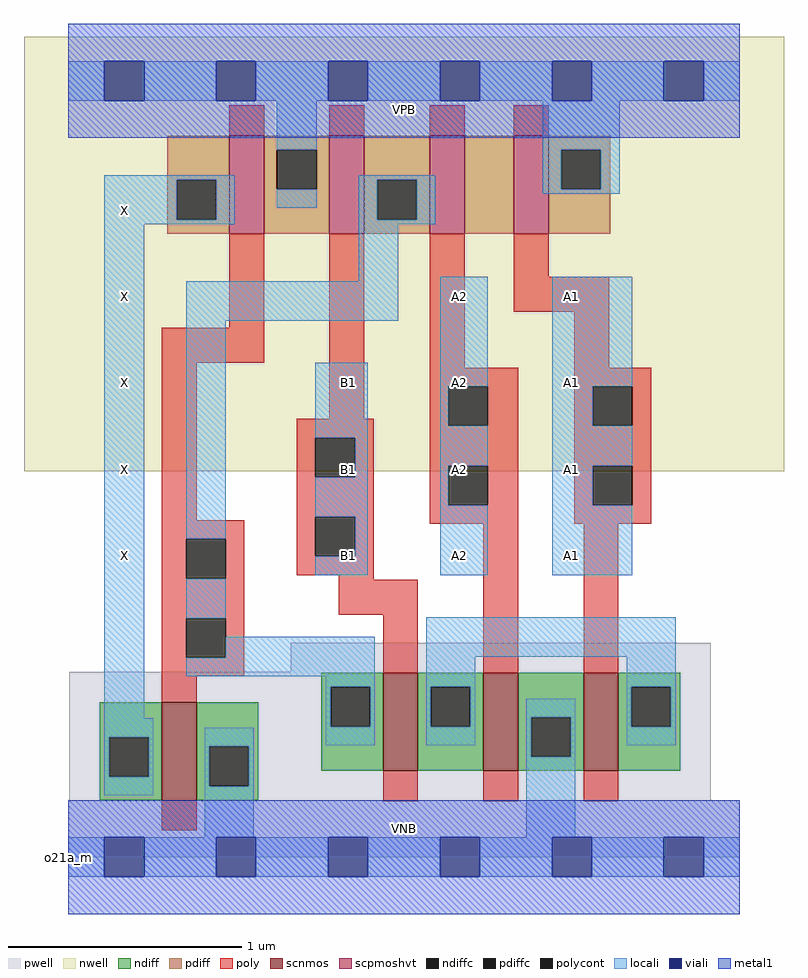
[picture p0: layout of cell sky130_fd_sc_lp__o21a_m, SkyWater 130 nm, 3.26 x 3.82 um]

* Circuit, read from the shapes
.subckt sky130_fd_sc_lp__o21a_m A1 A2 B1 VGND VNB VPB VPWR X
XM1 VGND n1 X VNB sky130_fd_pr__nfet_01v8 w=0.42 l=0.15
XM2 n2 B1 n1 VNB sky130_fd_pr__nfet_01v8 w=0.42 l=0.15
XM3 VGND A2 n2 VNB sky130_fd_pr__nfet_01v8 w=0.42 l=0.15
XM4 n2 A1 VGND VNB sky130_fd_pr__nfet_01v8 w=0.42 l=0.15
XM5 VPWR n1 X VPB sky130_fd_pr__pfet_01v8_hvt w=0.42 l=0.15
XM6 n1 B1 VPWR VPB sky130_fd_pr__pfet_01v8_hvt w=0.42 l=0.15
XM7 n3 A2 n1 VPB sky130_fd_pr__pfet_01v8_hvt w=0.42 l=0.15
XM8 VPWR A1 n3 VPB sky130_fd_pr__pfet_01v8_hvt w=0.42 l=0.15
.ends

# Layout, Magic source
magic
tech sky130A
magscale 1 2
<< nwell >>
rect -38 331 614 704
<< pwell >>
rect 191 159 551 184
rect 1 49 551 159
rect 0 0 576 49
<< scnmos >>
rect 80 49 110 133
rect 270 74 300 158
rect 356 74 386 158
rect 442 74 472 158
<< scpmoshvt >>
rect 138 535 168 619
rect 224 535 254 619
rect 310 535 340 619
rect 382 535 412 619
<< ndiff >>
rect 217 146 270 158
rect 27 103 80 133
rect 27 69 35 103
rect 69 69 80 103
rect 27 49 80 69
rect 110 95 163 133
rect 110 61 121 95
rect 155 61 163 95
rect 217 112 225 146
rect 259 112 270 146
rect 217 74 270 112
rect 300 146 356 158
rect 300 112 311 146
rect 345 112 356 146
rect 300 74 356 112
rect 386 120 442 158
rect 386 86 397 120
rect 431 86 442 120
rect 386 74 442 86
rect 472 146 525 158
rect 472 112 483 146
rect 517 112 525 146
rect 472 74 525 112
rect 110 49 163 61
<< pdiff >>
rect 85 581 138 619
rect 85 547 93 581
rect 127 547 138 581
rect 85 535 138 547
rect 168 607 224 619
rect 168 573 179 607
rect 213 573 224 607
rect 168 535 224 573
rect 254 581 310 619
rect 254 547 265 581
rect 299 547 310 581
rect 254 535 310 547
rect 340 535 382 619
rect 412 607 465 619
rect 412 573 423 607
rect 457 573 465 607
rect 412 535 465 573
<< ndiffc >>
rect 35 69 69 103
rect 121 61 155 95
rect 225 112 259 146
rect 311 112 345 146
rect 397 86 431 120
rect 483 112 517 146
<< pdiffc >>
rect 93 547 127 581
rect 179 573 213 607
rect 265 547 299 581
rect 423 573 457 607
<< poly >>
rect 138 619 168 645
rect 224 619 254 645
rect 310 619 340 645
rect 382 619 412 645
rect 138 454 168 535
rect 80 424 168 454
rect 80 289 110 424
rect 224 376 254 535
rect 310 420 340 535
rect 382 498 412 535
rect 382 468 464 498
rect 434 420 464 468
rect 310 404 386 420
rect 196 360 262 376
rect 196 326 212 360
rect 246 326 262 360
rect 196 292 262 326
rect 80 273 151 289
rect 80 239 101 273
rect 135 239 151 273
rect 196 258 212 292
rect 246 258 262 292
rect 310 370 326 404
rect 360 370 386 404
rect 310 336 386 370
rect 310 302 326 336
rect 360 302 386 336
rect 310 286 386 302
rect 434 404 500 420
rect 434 370 450 404
rect 484 370 500 404
rect 434 336 500 370
rect 434 302 450 336
rect 484 302 500 336
rect 434 286 500 302
rect 196 242 262 258
rect 80 205 151 239
rect 232 238 262 242
rect 232 208 300 238
rect 80 171 101 205
rect 135 171 151 205
rect 80 155 151 171
rect 270 158 300 208
rect 356 158 386 286
rect 442 158 472 286
rect 80 133 110 155
rect 80 23 110 49
rect 270 48 300 74
rect 356 48 386 74
rect 442 48 472 74
<< polycont >>
rect 212 326 246 360
rect 101 239 135 273
rect 212 258 246 292
rect 326 370 360 404
rect 326 302 360 336
rect 450 370 484 404
rect 450 302 484 336
rect 101 171 135 205
<< locali >>
rect 0 649 31 683
rect 65 649 127 683
rect 161 649 223 683
rect 257 649 319 683
rect 353 649 415 683
rect 449 649 511 683
rect 545 649 576 683
rect 179 607 213 649
rect 31 581 143 585
rect 31 547 93 581
rect 127 547 143 581
rect 407 607 473 649
rect 179 557 213 573
rect 249 581 315 585
rect 31 543 143 547
rect 249 547 265 581
rect 299 547 315 581
rect 407 573 423 607
rect 457 573 473 607
rect 407 569 473 573
rect 249 543 315 547
rect 31 119 65 543
rect 249 494 283 543
rect 101 460 283 494
rect 101 273 135 460
rect 212 360 257 424
rect 246 326 257 360
rect 212 292 257 326
rect 246 258 257 292
rect 212 242 257 258
rect 319 404 360 498
rect 319 370 326 404
rect 319 336 360 370
rect 319 302 326 336
rect 319 242 360 302
rect 415 404 484 498
rect 415 370 450 404
rect 415 336 484 370
rect 415 302 450 336
rect 415 242 484 302
rect 101 205 135 239
rect 135 171 263 189
rect 101 155 263 171
rect 221 146 263 155
rect 31 103 73 119
rect 221 112 225 146
rect 259 112 263 146
rect 31 69 35 103
rect 69 69 73 103
rect 31 53 73 69
rect 117 95 159 111
rect 221 96 263 112
rect 307 172 521 206
rect 307 146 349 172
rect 307 112 311 146
rect 345 112 349 146
rect 479 146 521 172
rect 307 96 349 112
rect 393 120 435 136
rect 117 61 121 95
rect 155 61 159 95
rect 117 17 159 61
rect 393 86 397 120
rect 431 86 435 120
rect 479 112 483 146
rect 517 112 521 146
rect 479 96 521 112
rect 393 17 435 86
rect 0 -17 31 17
rect 65 -17 127 17
rect 161 -17 223 17
rect 257 -17 319 17
rect 353 -17 415 17
rect 449 -17 511 17
rect 545 -17 576 17
<< viali >>
rect 31 649 65 683
rect 127 649 161 683
rect 223 649 257 683
rect 319 649 353 683
rect 415 649 449 683
rect 511 649 545 683
rect 31 -17 65 17
rect 127 -17 161 17
rect 223 -17 257 17
rect 319 -17 353 17
rect 415 -17 449 17
rect 511 -17 545 17
<< metal1 >>
rect 0 683 576 715
rect 0 649 31 683
rect 65 649 127 683
rect 161 649 223 683
rect 257 649 319 683
rect 353 649 415 683
rect 449 649 511 683
rect 545 649 576 683
rect 0 617 576 649
rect 0 17 576 49
rect 0 -17 31 17
rect 65 -17 127 17
rect 161 -17 223 17
rect 257 -17 319 17
rect 353 -17 415 17
rect 449 -17 511 17
rect 545 -17 576 17
rect 0 -49 576 -17
<< labels >>
flabel pwell s 0 0 576 49 0 FreeSans 200 0 0 0 VNB
port 5 nsew ground bidirectional
flabel nwell s 0 617 576 666 0 FreeSans 200 0 0 0 VPB
port 6 nsew power bidirectional
rlabel comment s 0 0 0 0 4 o21a_m
flabel metal1 s 0 617 576 666 0 FreeSans 340 0 0 0 VPWR
port 7 nsew power bidirectional
flabel metal1 s 0 0 576 49 0 FreeSans 340 0 0 0 VGND
port 4 nsew ground bidirectional
flabel locali s 415 242 449 276 0 FreeSans 340 0 0 0 A1
port 1 nsew signal input
flabel locali s 415 316 449 350 0 FreeSans 340 0 0 0 A1
port 1 nsew signal input
flabel locali s 415 390 449 424 0 FreeSans 340 0 0 0 A1
port 1 nsew signal input
flabel locali s 415 464 449 498 0 FreeSans 340 0 0 0 A1
port 1 nsew signal input
flabel locali s 319 242 353 276 0 FreeSans 340 0 0 0 A2
port 2 nsew signal input
flabel locali s 319 316 353 350 0 FreeSans 340 0 0 0 A2
port 2 nsew signal input
flabel locali s 319 390 353 424 0 FreeSans 340 0 0 0 A2
port 2 nsew signal input
flabel locali s 319 464 353 498 0 FreeSans 340 0 0 0 A2
port 2 nsew signal input
flabel locali s 223 242 257 276 0 FreeSans 340 0 0 0 B1
port 3 nsew signal input
flabel locali s 223 316 257 350 0 FreeSans 340 0 0 0 B1
port 3 nsew signal input
flabel locali s 223 390 257 424 0 FreeSans 340 0 0 0 B1
port 3 nsew signal input
flabel locali s 31 242 65 276 0 FreeSans 340 0 0 0 X
port 8 nsew signal output
flabel locali s 31 316 65 350 0 FreeSans 340 0 0 0 X
port 8 nsew signal output
flabel locali s 31 390 65 424 0 FreeSans 340 0 0 0 X
port 8 nsew signal output
flabel locali s 31 464 65 498 0 FreeSans 340 0 0 0 X
port 8 nsew signal output
flabel locali s 31 538 65 572 0 FreeSans 340 0 0 0 X
port 8 nsew signal output
<< properties >>
string LEFsite unit
string LEFclass CORE
string FIXED_BBOX 0 0 576 666
string GDS_FILE $PDKPATH/libs.ref/sky130_fd_sc_lp/gds/sky130_fd_sc_lp.gds
string LEFsymmetry X Y R90
string GDS_END 853786
string GDS_START 847054
<< end >>
